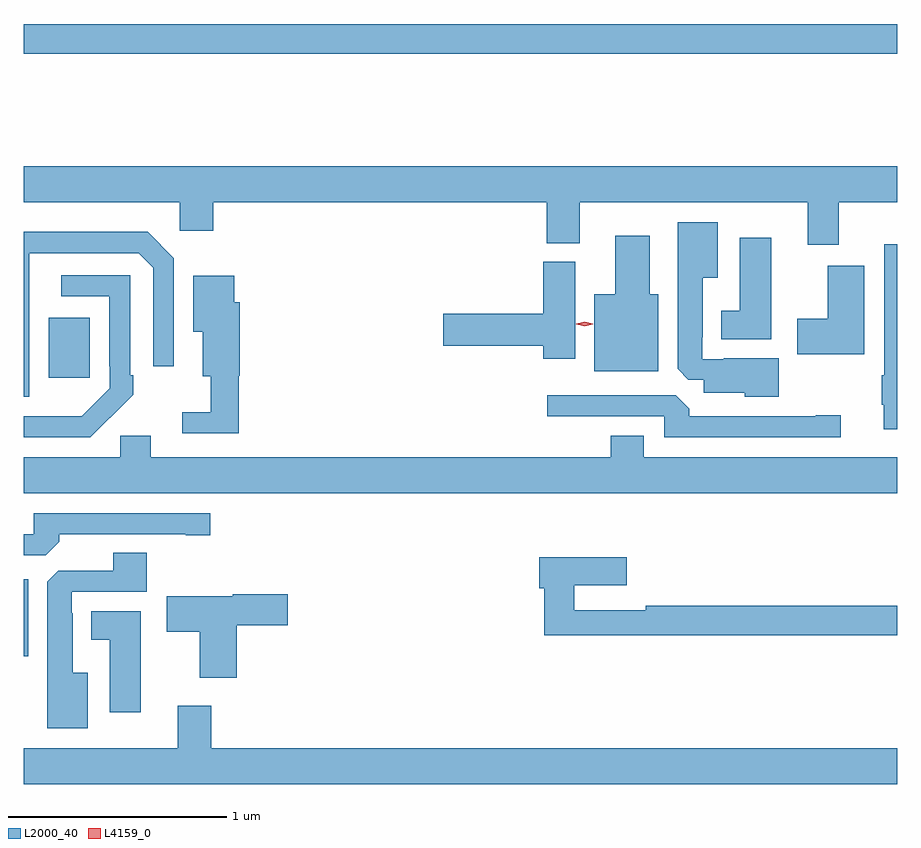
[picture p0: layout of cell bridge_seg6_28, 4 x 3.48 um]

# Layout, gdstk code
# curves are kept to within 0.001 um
import gdstk
lib = gdstk.Library(unit=1e-6, precision=1e-09)
def R(c, l, rs):  # rectangles x0, y0, x1, y1
    for r in rs: c.add(gdstk.rectangle(r[:2], r[2:], *l))
def P(c, l, *ps):  # polygons
    for p in ps: c.add(gdstk.Polygon(p, *l))
L2000_40 = (2000, 40)
L4159_0 = (4159, 0)

bridge_seg6_28 = lib.new_cell('bridge_seg6_28')
R(bridge_seg6_28, L2000_40, [(1094.927,991.877,1094.947,992.23), (1095.041,993.153,1095.229,993.427), (1094.927,994.636,1098.927,994.772)])
P(bridge_seg6_28, L2000_40, [(1098.658,993.956),(1098.927,993.956),(1098.927,994.12),(1094.927,994.12),(1094.927,993.956),(1095.642,993.956),(1095.642,993.825),(1095.794,993.825),(1095.794,993.956),(1097.321,993.956),(1097.321,993.769),(1097.473,993.769),(1097.473,993.956),(1098.518,993.956),(1098.518,993.762),(1098.658,993.762)],
  [(1098.385,993.241),(1098.133,993.241),(1098.133,993.237),(1098.033,993.237),(1098.033,993.337),(1098.037,993.337),(1098.037,993.611),(1098.106,993.611),(1098.106,993.865),(1097.921,993.865),(1097.921,993.193),(1097.97,993.144),(1098.041,993.144),(1098.041,993.083),(1098.228,993.083),(1098.228,993.065),(1098.385,993.065)],
  [(1094.952,993.523),(1094.953,993.523),(1094.953,993.723),(1095.453,993.723),(1095.519,993.657),(1095.519,993.204),(1095.615,993.204),(1095.615,993.699),(1095.494,993.82),(1094.927,993.82),(1094.927,993.066),(1094.952,993.066)],
  [(1097.833,993.535),(1097.794,993.535),(1097.794,993.802),(1097.636,993.802),(1097.636,993.535),(1097.54,993.535),(1097.54,993.182),(1097.833,993.182)],
  [(1098.349,993.793),(1098.206,993.793),(1098.206,993.46),(1098.122,993.46),(1098.122,993.329),(1098.349,993.329)],
  [(1098.927,993.763),(1098.867,993.763),(1098.867,993.164),(1098.855,993.164),(1098.855,993.028),(1098.866,993.028),(1098.866,992.916),(1098.927,992.916)],
  [(1097.452,993.684),(1097.306,993.684),(1097.306,993.446),(1096.848,993.446),(1096.848,993.299),(1097.306,993.299),(1097.306,993.24),(1097.452,993.24)],
  [(1098.775,993.664),(1098.608,993.664),(1098.608,993.423),(1098.468,993.423),(1098.468,993.26),(1098.775,993.26)],
  [(1095.323,992.971),(1095.324,992.97),(1095.429,993.075),(1095.429,993.163),(1095.414,993.163),(1095.414,993.621),(1095.099,993.621),(1095.099,993.525),(1095.318,993.525),(1095.318,993.205),(1095.321,993.205),(1095.321,993.105),(1095.193,992.977),(1094.927,992.976),(1094.927,992.88),(1095.232,992.88)],
  [(1095.911,993.162),(1095.917,993.162),(1095.917,993.498),(1095.892,993.498),(1095.892,993.619),(1095.704,993.619),(1095.704,993.362),(1095.746,993.362),(1095.746,993.158),(1095.783,993.158),(1095.783,992.995),(1095.654,992.995),(1095.654,992.898),(1095.911,992.898)],
  [(1098.667,992.981),(1098.554,992.981),(1098.554,992.976),(1097.975,992.976),(1097.975,993.01),(1097.913,993.072),(1097.325,993.072),(1097.325,992.976),(1097.859,992.976),(1097.859,992.88),(1098.667,992.88)],
  [(1098.927,992.788),(1097.767,992.788),(1097.767,992.887),(1097.615,992.887),(1097.615,992.788),(1095.508,992.788),(1095.508,992.886),(1095.369,992.886),(1095.369,992.788),(1094.927,992.788),(1094.927,992.624),(1098.927,992.624)],
  [(1095.089,992.402),(1095.089,992.436),(1095.668,992.436),(1095.668,992.431),(1095.781,992.431),(1095.781,992.532),(1094.973,992.532),(1094.973,992.436),(1094.927,992.436),(1094.927,992.34),(1095.027,992.34)],
  [(1095.22,991.801),(1095.151,991.801),(1095.151,992.075),(1095.147,992.075),(1095.147,992.172),(1095.491,992.172),(1095.491,992.351),(1095.338,992.351),(1095.338,992.268),(1095.084,992.268),(1095.035,992.219),(1095.035,991.547),(1095.22,991.547)],
  [(1098.927,992.108),(1097.776,992.108),(1097.776,992.088),(1097.447,992.088),(1097.447,992.201),(1097.689,992.201),(1097.689,992.331),(1097.288,992.331),(1097.288,992.189),(1097.311,992.189),(1097.311,991.972),(1098.927,991.972)],
  [(1095.902,992.018),(1096.135,992.018),(1096.135,992.16),(1095.885,992.16),(1095.885,992.152),(1095.582,992.152),(1095.582,991.99),(1095.734,991.99),(1095.734,991.779),(1095.902,991.779)],
  [(1095.463,992.083),(1095.236,992.083),(1095.236,991.952),(1095.32,991.952),(1095.32,991.62),(1095.463,991.62)],
  [(1098.927,991.456),(1095.785,991.456),(1095.785,991.651),(1095.632,991.651),(1095.632,991.456),(1094.927,991.456),(1094.927,991.292),(1098.927,991.292)])
P(bridge_seg6_28, L4159_0, [(1097.495,993.388),(1097.457,993.398),(1097.457,993.398),(1097.457,993.399),(1097.495,993.408),(1097.533,993.399),(1097.533,993.398),(1097.533,993.398)])

lib.write_gds('bridge_seg6_28.gds')
